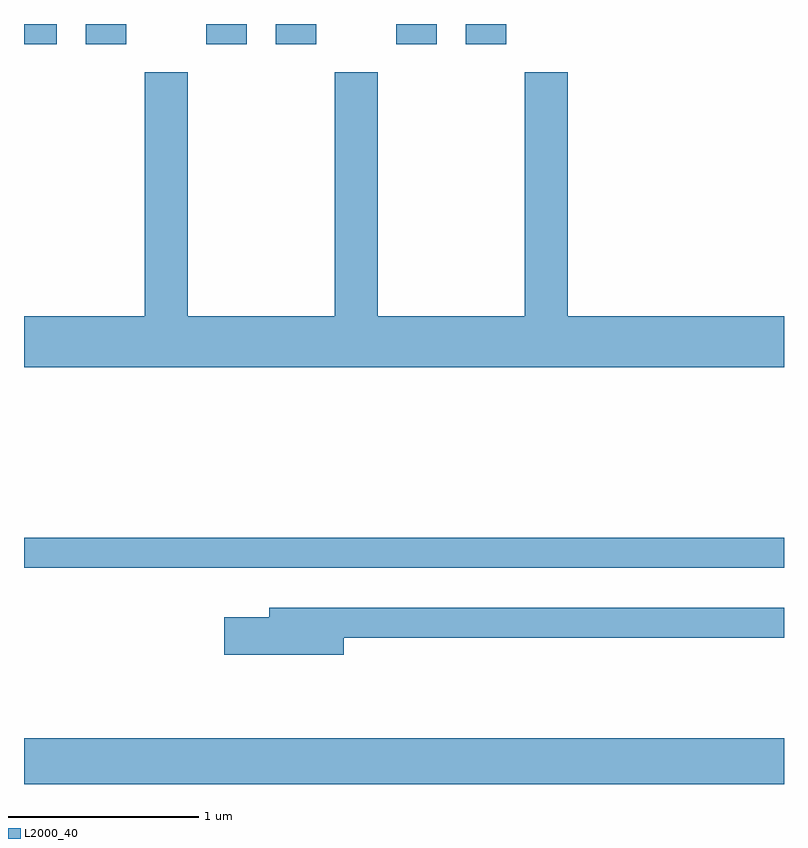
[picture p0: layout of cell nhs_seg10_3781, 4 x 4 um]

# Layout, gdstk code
import gdstk
lib = gdstk.Library(unit=1e-6, precision=1e-09)
def R(c, l, rs):  # rectangles x0, y0, x1, y1
    for r in rs: c.add(gdstk.rectangle(r[:2], r[2:], *l))
def P(c, l, *ps):  # polygons
    for p in ps: c.add(gdstk.Polygon(p, *l))
L2000_40 = (2000, 40)

nhs_seg10_3781 = lib.new_cell('nhs_seg10_3781')
R(nhs_seg10_3781, L2000_40, [(295.611,2200.522,299.611,2200.764), (295.611,2201.661,299.611,2201.819), (295.611,2204.416,295.784,2204.522), (295.936,2204.416,296.149,2204.522), (296.571,2204.416,296.784,2204.522), (296.936,2204.416,297.149,2204.522), (297.571,2204.416,297.784,2204.522), (297.936,2204.416,298.149,2204.522)])
P(nhs_seg10_3781, L2000_40, [(299.611,2202.984),(298.474,2202.984),(298.474,2204.269),(298.246,2204.269),(298.246,2202.984),(297.474,2202.984),(297.474,2204.269),(297.246,2204.269),(297.246,2202.984),(296.474,2202.984),(296.474,2204.269),(296.246,2204.269),(296.246,2202.984),(295.611,2202.984),(295.611,2202.716),(299.611,2202.716)],
  [(297.294,2201.291),(299.611,2201.291),(299.611,2201.449),(296.901,2201.449),(296.901,2201.399),(296.666,2201.399),(296.666,2201.201),(297.294,2201.201)])

lib.write_gds('nhs_seg10_3781.gds')
